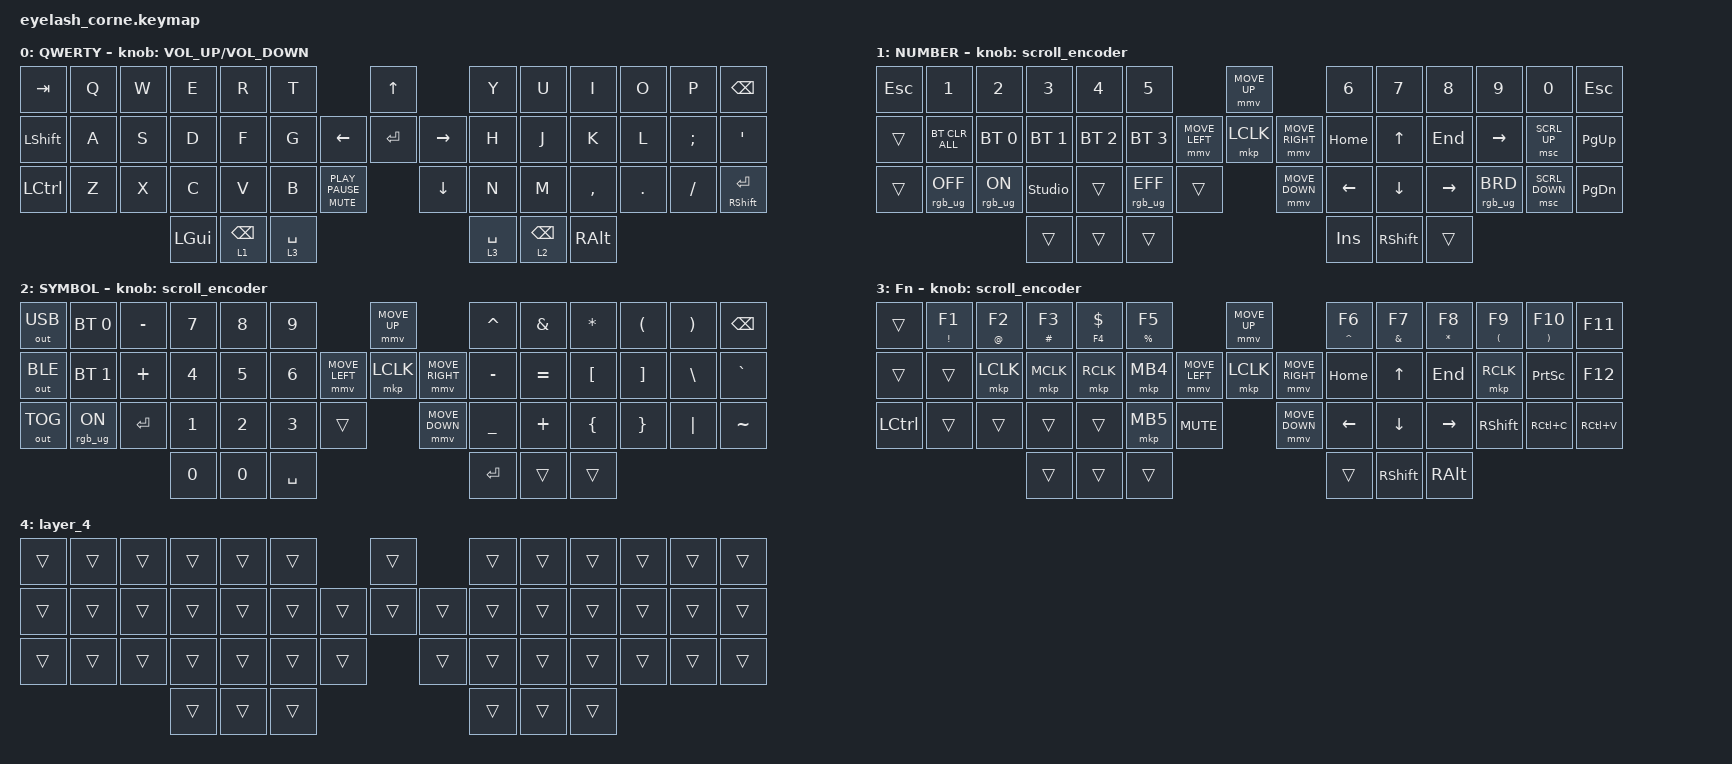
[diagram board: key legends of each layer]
#include <dt-bindings/zmk/mouse.h>
#include <input/processors.dtsi>
#include <behaviors.dtsi>
#include <dt-bindings/zmk/bt.h>
#include <dt-bindings/zmk/keys.h>
#include <dt-bindings/zmk/outputs.h>
#include <dt-bindings/zmk/pointing.h>
#include <dt-bindings/zmk/pointing.h>
#include <dt-bindings/zmk/pointing.h>
#include <dt-bindings/zmk/rgb.h>

/*

   &mmv_input_listener {
       input-processors = <&zip_xy_scaler 2 1>;
   };

   &msc_input_listener {
       input-processors = <&zip_xy_scaler 2 1>;
   };

 */

#define ZMK_MOUSE_DEFAULT_MOVE_VAL 1200  // 600
#define ZMK_MOUSE_DEFAULT_SCRL_VAL 20    // 10

/ {
    behaviors {
        td0: td0 {
            compatible = "zmk,behavior-tap-dance";
            display-name = "Shift/Caps Lock Tap Dance";
            #binding-cells = <0>;
            bindings = <&kp LEFT_SHIFT>, <&kp CAPS>;
        };
    };

    rgb_encoder: rgb_encoder {
        compatible = "zmk,behavior-sensor-rotate";
        #sensor-binding-cells = <0>;
        bindings = <&rgb_ug RGB_BRI>, <&rgb_ug RGB_BRD>;
    };

    scroll_encoder: scroll_encoder {
        compatible = "zmk,behavior-sensor-rotate";
        #sensor-binding-cells = <0>;
        bindings = <&msc SCRL_DOWN>, <&msc SCRL_UP>;

        tap-ms = <30>;
    };

    keymap {
        compatible = "zmk,keymap";

        default_layer {
            display-name = "QWERTY";
            bindings = <
&kp TAB         &kp Q  &kp W  &kp E     &kp R            &kp T                                             &kp UP                &kp Y        &kp U            &kp I          &kp O    &kp P     &kp BSPC
&kp LEFT_SHIFT  &kp A  &kp S  &kp D     &kp F            &kp G                                   &kp LEFT  &kp ENTER  &kp RIGHT  &kp H        &kp J            &kp K          &kp L    &kp SEMI  &kp SQT
&kp LCTRL       &kp Z  &kp X  &kp C     &kp V            &kp B        &mt K_MUTE K_PLAY_PAUSE              &kp DOWN              &kp N        &kp M            &kp COMMA      &kp DOT  &kp FSLH  &mt RIGHT_SHIFT ENTER
                              &kp LGUI  &lt 1 BACKSPACE  &lt 3 SPACE                                                             &lt 3 SPACE  &lt 2 BACKSPACE  &kp RIGHT_ALT
            >;

            sensor-bindings = <&inc_dec_kp C_VOLUME_UP C_VOLUME_DOWN>;
        };

        lower_layer {
            display-name = "NUMBER";
            bindings = <
&kp ESCAPE  &kp N1           &kp N2          &kp N3          &kp N4        &kp N5                                     &mmv MOVE_UP                     &kp N6    &kp N7           &kp N8     &kp N9           &kp N0          &kp ESC
&trans      &bt BT_CLR_ALL   &bt BT_SEL 0    &bt BT_SEL 1    &bt BT_SEL 2  &bt BT_SEL 3               &mmv MOVE_LEFT  &mkp LCLK       &mmv MOVE_RIGHT  &kp HOME  &kp UP           &kp END    &kp RIGHT        &msc SCRL_UP    &kp PG_UP
&trans      &rgb_ug RGB_OFF  &rgb_ug RGB_ON  &studio_unlock  &trans        &rgb_ug RGB_EFF  &trans                    &mmv MOVE_DOWN                   &kp LEFT  &kp DOWN         &kp RIGHT  &rgb_ug RGB_BRD  &msc SCRL_DOWN  &kp PG_DN
                                             &trans          &trans        &trans                                                                      &kp INS   &kp RIGHT_SHIFT  &trans
            >;

            sensor-bindings = <&scroll_encoder>;
        };

        raise_layer {
            display-name = "SYMBOL";
            bindings = <
&out OUT_USB  &bt BT_SEL 0    &kp MINUS  &kp NUMBER_7  &kp NUMBER_8  &kp NUMBER_9                            &mmv MOVE_UP                     &kp CARET  &kp AMPS   &kp ASTRK  &kp LPAR  &kp RPAR  &kp BSPC
&out OUT_BLE  &bt BT_SEL 1    &kp PLUS   &kp NUMBER_4  &kp NUMBER_5  &kp NUMBER_6            &mmv MOVE_LEFT  &mkp LCLK       &mmv MOVE_RIGHT  &kp MINUS  &kp EQUAL  &kp LBKT   &kp RBKT  &kp BSLH  &kp GRAVE
&out OUT_TOG  &rgb_ug RGB_ON  &kp ENTER  &kp NUMBER_1  &kp NUMBER_2  &kp NUMBER_3  &trans                    &mmv MOVE_DOWN                   &kp UNDER  &kp PLUS   &kp LBRC   &kp RBRC  &kp PIPE  &kp TILDE
                                         &kp NUMBER_0  &kp NUMBER_0  &kp SPACE                                                                &kp RET    &trans     &trans
            >;

            sensor-bindings = <&scroll_encoder>;
        };

        layer_3 {
            display-name = "Fn";
            bindings = <
&trans     &mt EXCL F1  &mt AT F2  &mt HASH F3  &mt F4 DOLLAR  &mt PERCENT F5                                &mmv MOVE_UP                     &mt CARET F6    &mt AMPERSAND F7  &mt ASTERISK F8  &mt LEFT_PARENTHESIS F9  &mt RIGHT_PARENTHESIS F10  &kp F11
&trans     &trans       &mkp LCLK  &mkp MCLK    &mkp RCLK      &mkp MB4                      &mmv MOVE_LEFT  &mkp LCLK       &mmv MOVE_RIGHT  &kp HOME        &kp UP_ARROW      &kp END          &mkp RCLK                &kp PRINTSCREEN            &kp F12
&kp LCTRL  &trans       &trans     &trans       &trans         &mkp MB5        &kp C_MUTE                    &mmv MOVE_DOWN                   &kp LEFT_ARROW  &kp DOWN          &kp RIGHT        &kp RIGHT_SHIFT          &kp RC(C)                  &kp RC(V)
                                   &trans       &trans         &trans                                                                         &trans          &kp RIGHT_SHIFT   &kp RIGHT_ALT
            >;

            sensor-bindings = <&scroll_encoder>;
        };

        layer_4 {
            bindings = <
&trans  &trans  &trans  &trans  &trans  &trans                    &trans          &trans  &trans  &trans  &trans  &trans  &trans
&trans  &trans  &trans  &trans  &trans  &trans            &trans  &trans  &trans  &trans  &trans  &trans  &trans  &trans  &trans
&trans  &trans  &trans  &trans  &trans  &trans  &trans            &trans          &trans  &trans  &trans  &trans  &trans  &trans
                        &trans  &trans  &trans                                    &trans  &trans  &trans
            >;
        };
    };
};
